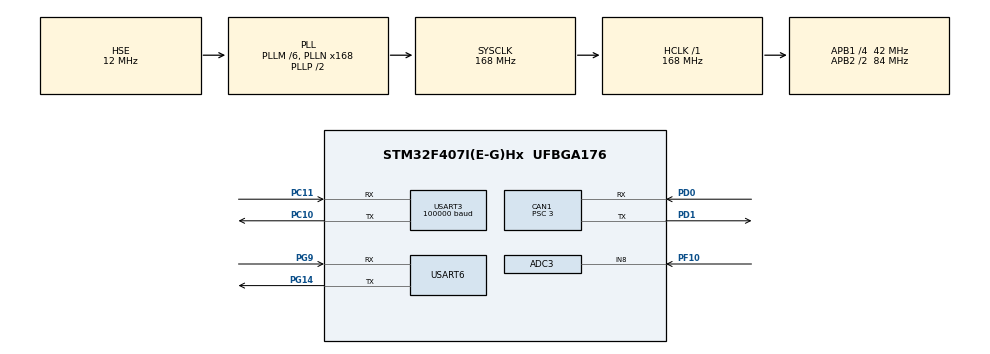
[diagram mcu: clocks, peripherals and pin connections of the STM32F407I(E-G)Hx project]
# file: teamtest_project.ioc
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ADC3.Channel-0\#ChannelRegularConversion=ADC_CHANNEL_8
ADC3.NbrOfConversionFlag=1
ADC3.Rank-0\#ChannelRegularConversion=1
ADC3.SamplingTime-0\#ChannelRegularConversion=ADC_SAMPLETIME_3CYCLES
CAN1.ABOM=ENABLE
CAN1.BS1=CAN_BS1_9TQ
CAN1.BS2=CAN_BS2_4TQ
CAN1.CalculateBaudRate=1000000
CAN1.CalculateTimeBit=1000
CAN1.CalculateTimeQuantum=71.42857142857143
CAN1.NART=ENABLE
CAN1.Prescaler=3
Dma.Request0=USART3_RX
Dma.USART3_RX.0.Direction=DMA_PERIPH_TO_MEMORY
Dma.USART3_RX.0.FIFOMode=DMA_FIFOMODE_DISABLE
Dma.USART3_RX.0.Instance=DMA1_Stream1
Dma.USART3_RX.0.MemDataAlignment=DMA_MDATAALIGN_BYTE
Dma.USART3_RX.0.MemInc=DMA_MINC_ENABLE
Dma.USART3_RX.0.Mode=DMA_NORMAL
Dma.USART3_RX.0.PeriphDataAlignment=DMA_PDATAALIGN_BYTE
Dma.USART3_RX.0.PeriphInc=DMA_PINC_DISABLE
Dma.USART3_RX.0.Priority=DMA_PRIORITY_VERY_HIGH
Mcu.Family=STM32F4
Mcu.Name=STM32F407I(E-G)Hx
Mcu.Package=UFBGA176
NVIC.CAN1_RX0_IRQn=true\:0\:0\:false\:false\:true\:true\:true\:true
NVIC.DMA1_Stream1_IRQn=true\:0\:0\:false\:false\:true\:false\:true\:true
NVIC.PriorityGroup=NVIC_PRIORITYGROUP_4
NVIC.TIM6_DAC_IRQn=true\:0\:0\:false\:false\:true\:true\:true\:true
NVIC.USART3_IRQn=true\:0\:0\:false\:false\:true\:true\:true\:true
NVIC.USART6_IRQn=true\:0\:0\:false\:false\:true\:true\:true\:true
PA13.Mode=Serial_Wire
PA13.Signal=SYS_JTMS-SWDIO
PA14.Mode=Serial_Wire
PA14.Signal=SYS_JTCK-SWCLK
PC10.Mode=Asynchronous
PC10.Signal=USART3_TX
PC11.Mode=Asynchronous
PC11.Signal=USART3_RX
PD0.Mode=CAN_Activate
PD0.Signal=CAN1_RX
PD1.Mode=CAN_Activate
PD1.Signal=CAN1_TX
PF10.Mode=IN8
PF10.Signal=ADC3_IN8
PG14.Mode=Asynchronous
PG14.Signal=USART6_TX
PG9.Mode=Asynchronous
PG9.Signal=USART6_RX
PH0-OSC_IN.Mode=HSE-External-Oscillator
PH0-OSC_IN.Signal=RCC_OSC_IN
PH1-OSC_OUT.Mode=HSE-External-Oscillator
PH1-OSC_OUT.Signal=RCC_OSC_OUT
ProjectManager.HeapSize=0x200
ProjectManager.StackSize=0x400
ProjectManager.TargetToolchain=MDK-ARM V5.32
RCC.48MHZClocksFreq_Value=84000000
RCC.AHBFreq_Value=168000000
RCC.APB1CLKDivider=RCC_HCLK_DIV4
RCC.APB1Freq_Value=42000000
RCC.APB1TimFreq_Value=84000000
RCC.APB2CLKDivider=RCC_HCLK_DIV2
RCC.APB2Freq_Value=84000000
RCC.APB2TimFreq_Value=168000000
RCC.CortexFreq_Value=168000000
RCC.HCLKFreq_Value=168000000
RCC.HSE_VALUE=12000000
RCC.HSI_VALUE=16000000
RCC.LSE_VALUE=32768
RCC.PLLM=6
RCC.PLLN=168
RCC.PLLSourceVirtual=RCC_PLLSOURCE_HSE
RCC.SYSCLKFreq_VALUE=168000000
RCC.SYSCLKSource=RCC_SYSCLKSOURCE_PLLCLK
RCC.VCOOutputFreq_Value=336000000
TIM6.Period=1000
TIM6.Prescaler=84
USART3.BaudRate=100000
USART3.Parity=PARITY_EVEN
USART3.VirtualMode=VM_ASYNC
USART3.WordLength=WORDLENGTH_9B
USART6.VirtualMode=VM_ASYNC
VP_TIM6_VS_ClockSourceINT.Mode=Enable_Timer
board=custom

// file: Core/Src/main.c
/* USER CODE BEGIN Header */
/**
  ******************************************************************************
  * @file           : main.c
  * @brief          : Main program body
  ******************************************************************************
  * @attention
  *
  * Copyright (c) 2026 STMicroelectronics.
  * All rights reserved.
  *
  * This software is licensed under terms that can be found in the LICENSE file
  * in the root directory of this software component.
  * If no LICENSE file comes with this software, it is provided AS-IS.
  *
  ******************************************************************************
  */
/* USER CODE END Header */
#include "main.h"
#include "adc.h"
#include "can.h"
#include "dma.h"
#include "tim.h"
#include "usart.h"
#include "gpio.h"
#include "chassis_task.h"
#include "drv_can.h"
#include "pid.h"
#include "remote.h"
#include "stdlib.h"
#include "math.h"
#include "stdio.h"
#include "string.h"
extern void Chassis_Init(void);
extern void Chassis_Loop(void);

/* USER CODE BEGIN PV */
extern UART_HandleTypeDef huart6; // 引用你在 CubeMX 里生成的 huart6
uint8_t usart6_rx_buffer[1];      // 接收一个字节的临时缓冲
char pid_cmd_buffer[50];          // 存储完整指令的缓冲
uint8_t pid_cmd_index = 0;        // 索引
extern PID_TypeDef pid_chassis[4]; // 引用底盘PID结构体
/* USER CODE END PV */

void SystemClock_Config(void);

int main(void)
{

  /* MCU Configuration--------------------------------------------------------*/

  /* Reset of all peripherals, Initializes the Flash interface and the Systick. */
  HAL_Init();

  /* Configure the system clock */
  SystemClock_Config();

  /* Initialize all configured peripherals */
  MX_GPIO_Init();
  MX_DMA_Init();
  MX_ADC3_Init();
  MX_CAN1_Init();
  MX_USART3_UART_Init();
  MX_TIM6_Init();
  MX_USART6_UART_Init();
  /* USER CODE BEGIN 2 */
  HAL_UART_Receive_IT(&huart6, usart6_rx_buffer, 1);
  rc_init();
  CAN_Filter_Mask_Config(&hcan1, CAN_FILTER(0) | CAN_FIFO_0 | CAN_STDID | CAN_DATA_TYPE, 0, 0);
  HAL_CAN_Start(&hcan1);
  HAL_CAN_ActivateNotification(&hcan1, CAN_IT_RX_FIFO0_MSG_PENDING);
  HAL_TIM_Base_Start_IT(&htim6);
  __HAL_UART_ENABLE_IT(&huart3, UART_IT_IDLE);
  Chassis_Init();
  /* USER CODE END 2 */

  /* Infinite loop */
  /* USER CODE BEGIN WHILE */
  while (1)
  {
   // Chassis_Loop_Handler() 已在定时器中断中调用，无需在主循环中重复调用
   // 避免竞态条件和重复执行
   HAL_Delay(10);
    /* USER CODE END WHILE */

  }
}

void SystemClock_Config(void)
{
  RCC_OscInitTypeDef RCC_OscInitStruct = {0};
  RCC_ClkInitTypeDef RCC_ClkInitStruct = {0};

  /** Configure the main internal regulator output voltage
  */
  __HAL_RCC_PWR_CLK_ENABLE();
  __HAL_PWR_VOLTAGESCALING_CONFIG(PWR_REGULATOR_VOLTAGE_SCALE1);

  /** Initializes the RCC Oscillators according to the specified parameters
  * in the RCC_OscInitTypeDef structure.
  */
  RCC_OscInitStruct.OscillatorType = RCC_OSCILLATORTYPE_HSE;
  RCC_OscInitStruct.HSEState = RCC_HSE_ON;
  RCC_OscInitStruct.PLL.PLLState = RCC_PLL_ON;
  RCC_OscInitStruct.PLL.PLLSource = RCC_PLLSOURCE_HSE;
  RCC_OscInitStruct.PLL.PLLM = 6;
  RCC_OscInitStruct.PLL.PLLN = 168;
  RCC_OscInitStruct.PLL.PLLP = RCC_PLLP_DIV2;
  RCC_OscInitStruct.PLL.PLLQ = 4;
  if (HAL_RCC_OscConfig(&RCC_OscInitStruct) != HAL_OK)
  {
    Error_Handler();
  }

  /** Initializes the CPU, AHB and APB buses clocks
  */
  RCC_ClkInitStruct.ClockType = RCC_CLOCKTYPE_HCLK|RCC_CLOCKTYPE_SYSCLK
                              |RCC_CLOCKTYPE_PCLK1|RCC_CLOCKTYPE_PCLK2;
  RCC_ClkInitStruct.SYSCLKSource = RCC_SYSCLKSOURCE_PLLCLK;
  RCC_ClkInitStruct.AHBCLKDivider = RCC_SYSCLK_DIV1;
  RCC_ClkInitStruct.APB1CLKDivider = RCC_HCLK_DIV4;
  RCC_ClkInitStruct.APB2CLKDivider = RCC_HCLK_DIV2;

  if (HAL_RCC_ClockConfig(&RCC_ClkInitStruct, FLASH_LATENCY_5) != HAL_OK)
  {
    Error_Handler();
  }
}

/* USER CODE BEGIN 4 */
int _write(int file, char *ptr, int len)
{
  HAL_UART_Transmit(&huart6, (uint8_t*)ptr, len, 0xFFFF);
  return len;
}
// ...
void HAL_UART_RxCpltCallback(UART_HandleTypeDef *huart)
{
    if(huart->Instance == USART6)
    {
        if(usart6_rx_buffer[0] == '\n')
        {
            pid_cmd_buffer[pid_cmd_index] = '\0';

            int motor_id = 0; // 默认修改电机1 (ID 0)
            char *param_start = pid_cmd_buffer;

            // 检查是否有电机ID前缀，例如 "m2 p=10"
            if(pid_cmd_buffer[0] == 'm' && pid_cmd_buffer[2] == ' ')
            {
                motor_id = pid_cmd_buffer[1] - '1'; // '1'->0, '2'->1
                if(motor_id < 0 || motor_id > 3) motor_id = 0;
                param_start = &pid_cmd_buffer[3]; // 跳过 "mX "
            }

            // 解析参数 p=, i=, d=
            if(strncmp(param_start, "p=", 2) == 0)
            {
                pid_chassis[motor_id].Kp = atof(param_start + 2);
            }
            else if(strncmp(param_start, "i=", 2) == 0)
            {
                pid_chassis[motor_id].Ki = atof(param_start + 2);
            }
            else if(strncmp(param_start, "d=", 2) == 0)
            {
                pid_chassis[motor_id].Kd = atof(param_start + 2);
            }

            pid_cmd_index = 0;
        }
        else
        {
            if(pid_cmd_index < 49)
                pid_cmd_buffer[pid_cmd_index++] = usart6_rx_buffer[0];
        }
        HAL_UART_Receive_IT(&huart6, usart6_rx_buffer, 1);
    }
}
/* USER CODE END 4 */

void Error_Handler(void)
{
  __disable_irq();
  while (1)
  {
  }
}
